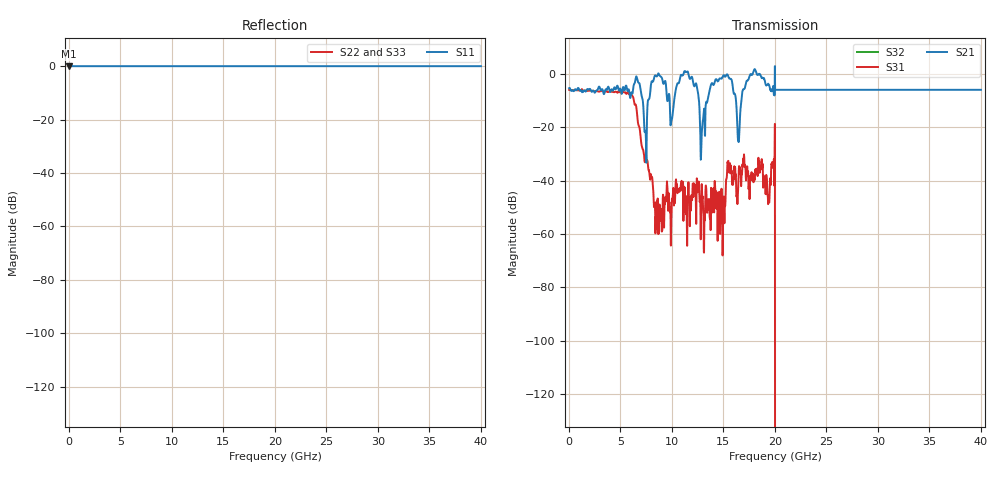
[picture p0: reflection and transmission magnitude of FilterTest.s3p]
# MHz MA S R 50.0
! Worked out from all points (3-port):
!   2000 points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, 20 MHz to 40 GHz, reference 50 ohm
!   strongest paths, dB at 20 MHz, 10.02 GHz, 20.02 GHz, 30.02 GHz, 40 GHz:
!     S21: -5.4, -16.7, -6.0, -6.0, -6.0
!     S31: -6.0, -46.8, -, -, -
!     S32: -, -, -, -, -
!   lowest |S11| = 0.0 dB at 20 MHz (marker M1)
!   |S11| at or under -10 dB: nowhere
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20  1 0.0  0 0.0  0 0.0
    0.5366 -0.7  0 0.0  0 0.0
    0.5007 -4.3  0 0.0  0 0.0
840  1 0.0  0 0.0  0 0.0
     0.5262 1.2  0 0.0  0 0.0
     0.4897 -178.0  0 0.0  0 0.0
6100  1 0.0  0 0.0  0 0.0
      0.4448 1.7  0 0.0  0 0.0
      0.4013 67.4  0 0.0  0 0.0
8860  1 0.0  0 0.0  0 0.0
      0.9028 -8.1  0 0.0  0 0.0
      0.002007 -151.7  0 0.0  0 0.0
12900  1 -0.0  0 0.0  0 0.0
       0.07957 -27.4  0 0.0  0 0.0
       0.008587 -85.0  0 0.0  0 0.0
18040  1 0.0  0 0.0  0 0.0
       1.22 7.7  0 0.0  0 0.0
       0.01021 163.3  0 0.0  0 0.0
19800  1 0.0  0 0.0  0 0.0
       0.5197 -59.5  0 0.0  0 0.0
       0.01728 84.4  0 0.0  0 0.0
20020  1 0.0  0 0.0  0 0.0
       0.5 0.0  0 0.0  0 0.0
       0 0.0  0 0.0  0 0.0
20220  1 0.0  0 0.0  0 0.0
       0.5 0.0  0 0.0  0 0.0
       0 0.0  0 0.0  0 0.0
40000  1 0.0  0 0.0  0 0.0
       0.5 0.0  0 0.0  0 0.0
       0 0.0  0 0.0  0 0.0
